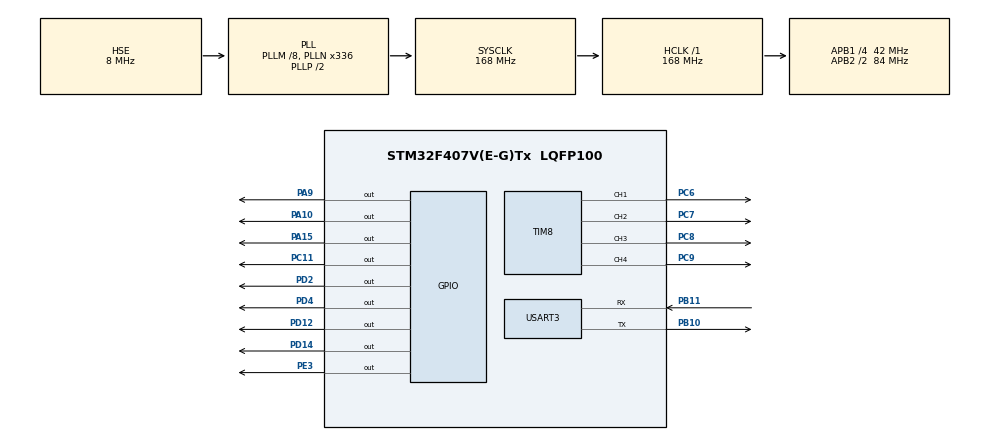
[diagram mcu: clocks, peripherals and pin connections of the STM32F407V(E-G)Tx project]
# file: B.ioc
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Mcu.Family=STM32F4
Mcu.Name=STM32F407V(E-G)Tx
Mcu.Package=LQFP100
NVIC.PriorityGroup=NVIC_PRIORITYGROUP_0
PA10.Signal=GPIO_Output
PA13.Mode=Trace_Asynchronous_SW
PA13.Signal=SYS_JTMS-SWDIO
PA14.Mode=Trace_Asynchronous_SW
PA14.Signal=SYS_JTCK-SWCLK
PA15.Signal=GPIO_Output
PA9.Signal=GPIO_Output
PB10.Mode=Asynchronous
PB10.Signal=USART3_TX
PB11.Mode=Asynchronous
PB11.Signal=USART3_RX
PB3.Mode=Trace_Asynchronous_SW
PB3.Signal=SYS_JTDO-SWO
PC11.Signal=GPIO_Output
PC6.Signal=S_TIM8_CH1
PC7.Signal=S_TIM8_CH2
PC8.Signal=S_TIM8_CH3
PC9.Signal=S_TIM8_CH4
PD12.Signal=GPIO_Output
PD14.Signal=GPIO_Output
PD2.Signal=GPIO_Output
PD4.Signal=GPIO_Output
PE3.Signal=GPIO_Output
PH0-OSC_IN.Mode=HSE-External-Oscillator
PH0-OSC_IN.Signal=RCC_OSC_IN
PH1-OSC_OUT.Mode=HSE-External-Oscillator
PH1-OSC_OUT.Signal=RCC_OSC_OUT
ProjectManager.HeapSize=0x200
ProjectManager.StackSize=0x400
ProjectManager.TargetToolchain=Makefile
RCC.48MHZClocksFreq_Value=48000000
RCC.AHBFreq_Value=168000000
RCC.APB1CLKDivider=RCC_HCLK_DIV4
RCC.APB1Freq_Value=42000000
RCC.APB1TimFreq_Value=84000000
RCC.APB2CLKDivider=RCC_HCLK_DIV2
RCC.APB2Freq_Value=84000000
RCC.APB2TimFreq_Value=168000000
RCC.CortexFreq_Value=168000000
RCC.HCLKFreq_Value=168000000
RCC.HSE_VALUE=8000000
RCC.HSI_VALUE=16000000
RCC.LSE_VALUE=32768
RCC.PLLM=8
RCC.PLLN=336
RCC.PLLQ=7
RCC.PLLSourceVirtual=RCC_PLLSOURCE_HSE
RCC.SYSCLKFreq_VALUE=168000000
RCC.SYSCLKSource=RCC_SYSCLKSOURCE_PLLCLK
RCC.VCOOutputFreq_Value=336000000
SH.S_TIM8_CH1.0=TIM8_CH1,PWM Generation1 CH1
SH.S_TIM8_CH2.0=TIM8_CH2,PWM Generation2 CH2
SH.S_TIM8_CH3.0=TIM8_CH3,PWM Generation3 CH3
SH.S_TIM8_CH4.0=TIM8_CH4,PWM Generation4 CH4
TIM8.Channel-PWM\ Generation1\ CH1=TIM_CHANNEL_1
TIM8.Channel-PWM\ Generation2\ CH2=TIM_CHANNEL_2
TIM8.Channel-PWM\ Generation3\ CH3=TIM_CHANNEL_3
TIM8.Channel-PWM\ Generation4\ CH4=TIM_CHANNEL_4
USART3.VirtualMode=VM_ASYNC
board=STM32F4DISCOVERY

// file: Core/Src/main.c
/* USER CODE BEGIN Header */
/**
  ******************************************************************************
  * @file           : main.c
  * @brief          : Main program body
  ******************************************************************************
  ** This notice applies to any and all portions of this file
  * that are not between comment pairs USER CODE BEGIN and
  * USER CODE END. Other portions of this file, whether
  * inserted by the user or by software development tools
  * are owned by their respective copyright owners.
  *
  * COPYRIGHT(c) 2019 STMicroelectronics
  *
  * Redistribution and use in source and binary forms, with or without modification,
  * are permitted provided that the following conditions are met:
  *   1. Redistributions of source code must retain the above copyright notice,
  *      this list of conditions and the following disclaimer.
  *   2. Redistributions in binary form must reproduce the above copyright notice,
  *      this list of conditions and the following disclaimer in the documentation
  *      and/or other materials provided with the distribution.
  *   3. Neither the name of STMicroelectronics nor the names of its contributors
  *      may be used to endorse or promote products derived from this software
  *      without specific prior written permission.
  *
  * THIS SOFTWARE IS PROVIDED BY THE COPYRIGHT HOLDERS AND CONTRIBUTORS "AS IS"
  * AND ANY EXPRESS OR IMPLIED WARRANTIES, INCLUDING, BUT NOT LIMITED TO, THE
  * IMPLIED WARRANTIES OF MERCHANTABILITY AND FITNESS FOR A PARTICULAR PURPOSE ARE
  * DISCLAIMED. IN NO EVENT SHALL THE COPYRIGHT HOLDER OR CONTRIBUTORS BE LIABLE
  * FOR ANY DIRECT, INDIRECT, INCIDENTAL, SPECIAL, EXEMPLARY, OR CONSEQUENTIAL
  * DAMAGES (INCLUDING, BUT NOT LIMITED TO, PROCUREMENT OF SUBSTITUTE GOODS OR
  * SERVICES; LOSS OF USE, DATA, OR PROFITS; OR BUSINESS INTERRUPTION) HOWEVER
  * CAUSED AND ON ANY THEORY OF LIABILITY, WHETHER IN CONTRACT, STRICT LIABILITY,
  * OR TORT (INCLUDING NEGLIGENCE OR OTHERWISE) ARISING IN ANY WAY OUT OF THE USE
  * OF THIS SOFTWARE, EVEN IF ADVISED OF THE POSSIBILITY OF SUCH DAMAGE.
  *
  ******************************************************************************
  */
/* USER CODE END Header */

#include "main.h"
#include "tim.h"
#include "usart.h"
#include "gpio.h"

/* USER CODE BEGIN Includes */
#include "robo_init.h"
#include "robot.h"
#include "stm32f4xx_hal.h"
#include "drive.h"
#include <stdio.h>

/* USER CODE END Includes */

void SystemClock_Config(void);

/* USER CODE BEGIN 0 */

struct __FILE{

int handle;
};

FILE __stdout;
FILE __stdin;

int fputc(int ch, FILE *f)
{
	ITM_SendChar(ch);
	return(ch);
}
int ITM_SendString(char *data, int len)
{
	int i=0 ;
        for (; i<len; ++i)
        {
                ITM_SendChar(data[i]);
        }
        return i;
}

int _write(int file, char *data, int len)
{
        int sent = ITM_SendString(data, len);
        return sent;
}
/* USER CODE END 0 */

int main(void)
{

  /* MCU Configuration--------------------------------------------------------*/

  /* Reset of all peripherals, Initializes the Flash interface and the Systick. */
  HAL_Init();

  /* Configure the system clock */
  SystemClock_Config();

  /* Initialize all configured peripherals */
  MX_GPIO_Init();
  MX_TIM8_Init();
  MX_USART3_UART_Init();
  /* USER CODE BEGIN 2 */
  wheel_init();
  HAL_TIM_Base_Start(&htim8);
  HAL_TIM_PWM_Start(&htim8, TIM_CHANNEL_1);
  HAL_TIM_PWM_Start(&htim8, TIM_CHANNEL_2);
  HAL_TIM_PWM_Start(&htim8, TIM_CHANNEL_4);
  /* USER CODE END 2 */

  /* Infinite loop */
  /* USER CODE BEGIN WHILE */
  printf("Hello World");
  printf("Initializing");
  robot_speed(20000);
  play();
  while (1)
  {
    /* USER CODE END WHILE */

  }
}

void SystemClock_Config(void)
{
  RCC_OscInitTypeDef RCC_OscInitStruct = {0};
  RCC_ClkInitTypeDef RCC_ClkInitStruct = {0};

  /**Configure the main internal regulator output voltage
  */
  __HAL_RCC_PWR_CLK_ENABLE();
  __HAL_PWR_VOLTAGESCALING_CONFIG(PWR_REGULATOR_VOLTAGE_SCALE1);
  /**Initializes the CPU, AHB and APB busses clocks
  */
  RCC_OscInitStruct.OscillatorType = RCC_OSCILLATORTYPE_HSE;
  RCC_OscInitStruct.HSEState = RCC_HSE_ON;
  RCC_OscInitStruct.PLL.PLLState = RCC_PLL_ON;
  RCC_OscInitStruct.PLL.PLLSource = RCC_PLLSOURCE_HSE;
  RCC_OscInitStruct.PLL.PLLM = 8;
  RCC_OscInitStruct.PLL.PLLN = 336;
  RCC_OscInitStruct.PLL.PLLP = RCC_PLLP_DIV2;
  RCC_OscInitStruct.PLL.PLLQ = 7;
  if (HAL_RCC_OscConfig(&RCC_OscInitStruct) != HAL_OK)
  {
    Error_Handler();
  }
  /**Initializes the CPU, AHB and APB busses clocks
  */
  RCC_ClkInitStruct.ClockType = RCC_CLOCKTYPE_HCLK|RCC_CLOCKTYPE_SYSCLK
                              |RCC_CLOCKTYPE_PCLK1|RCC_CLOCKTYPE_PCLK2;
  RCC_ClkInitStruct.SYSCLKSource = RCC_SYSCLKSOURCE_PLLCLK;
  RCC_ClkInitStruct.AHBCLKDivider = RCC_SYSCLK_DIV1;
  RCC_ClkInitStruct.APB1CLKDivider = RCC_HCLK_DIV4;
  RCC_ClkInitStruct.APB2CLKDivider = RCC_HCLK_DIV2;

  if (HAL_RCC_ClockConfig(&RCC_ClkInitStruct, FLASH_LATENCY_5) != HAL_OK)
  {
    Error_Handler();
  }
}

void Error_Handler(void)
{
}

/************************ (C) COPYRIGHT STMicroelectronics *****END OF FILE****/
